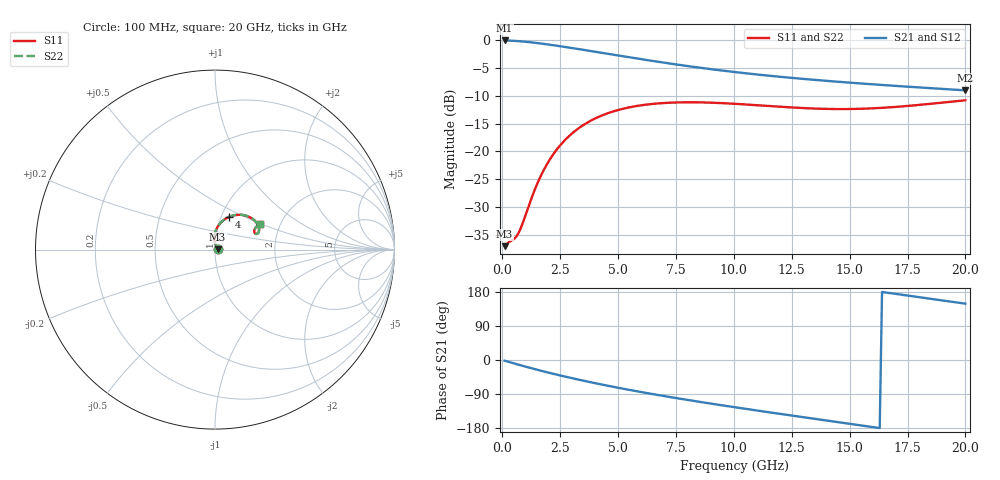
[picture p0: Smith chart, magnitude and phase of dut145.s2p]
! Touchstone file exported from HFSS 2024.1.0
!  File:  C:/UserFiles/LocalFiles/RDL_TSV_Batchsim/temp_RDL_TSV_145_1779430722.aedt
!  Generated:  02:34:35 PM May 22, 2026
!  Design:  RDL_TSV
!  Project:  temp_RDL_TSV_145_1779430722
!  Setup:  Setup1
!  Solution:  Sweep
! Variables:
!  dtsv = 12.21um
!  hbump = 3um
!  htsv = 59.25um
!  ldown = 586.97um
!  lrdl = 367.45um
!  p = 40
!  p1 = 44um
!  rhole = 10um
!  subl = 3230.71um
!  t = 450um
!  tdown = 4.99um
!  trdl = 4.87um
!  viad = 10um
!  wdown = 14.65um
!  wrdl = 21.82um
!  xbump = 18um
# GHz S MA R 50.000000
! Terminal data exported
! Port[1] = TM1_1_T1
! Port[2] = TM1_4_T1
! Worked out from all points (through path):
!   200 points, 100 MHz to 20 GHz, reference 50 ohm
!   highest |S21| = -0.13 dB at 100 MHz (marker M1); lowest = -9.1 dB at 20 GHz (marker M2)
!   group delay of S21, straight-line fit = 27.7 ps
!   lowest |S11| = -37.0 dB at 100 MHz (marker M3), VSWR 1.03, Z = 51.4 + j0.269 ohm
!   |S11| at or under -10 dB: start of sweep to end of sweep
!   |S22| runs from -37.0 to -10.8 dB; largest |S21 - S12| = 1.2e-14
!   S11 on the Smith chart (normalised r, x): 100 MHz: 1.03, +0.01; 4 GHz: 1.09, +0.41; 20 GHz: 1.58, +0.48
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0.1  0.01419 10.6  0.9856 -1.8  0.9856 -1.8  0.01419 10.6
! Gamma 0 0 0 0
! Port Impedance 50 0 50 0
0.5  0.0164 41.5  0.9778 -8.9  0.9778 -8.9  0.01639 41.6
0.7  0.01858 59.6  0.9717 -12.4  0.9717 -12.4  0.01858 59.6
0.9  0.02335 75.1  0.9641 -15.8  0.9641 -15.8  0.02336 75.2
1.3  0.04007 90.5  0.9456 -22.4  0.9456 -22.4  0.04012 90.6
1.5  0.05086 92.8  0.935 -25.6  0.935 -25.6  0.05094 92.9
1.8  0.06876 92.8  0.918 -30.3  0.918 -30.3  0.06887 92.9
2.1  0.08774 90.7  0.9 -34.9  0.9 -34.9  0.08789 90.8
2.7  0.126 83.8  0.8627 -43.6  0.8627 -43.6  0.1262 83.9
3.5  0.1723 73.4  0.8126 -54.6  0.8126 -54.6  0.1727 73.4
4  0.1969 67.1  0.7819 -61.0  0.7819 -61.0  0.1973 67.1
4.6  0.2215 60.0  0.7463 -68.5  0.7463 -68.5  0.2219 60.1
5.3  0.2435 52.6  0.7069 -76.8  0.7069 -76.8  0.244 52.7
6.8  0.2698 39.6  0.6319 -93.2  0.6319 -93.2  0.2705 39.7
8.4  0.2753 29.7  0.5666 -109.3  0.5666 -109.3  0.2761 29.8
10.1  0.2666 23.2  0.5122 -125.2  0.5122 -125.2  0.2675 23.3
11.7  0.2537 20.7  0.4723 -139.5  0.4723 -139.5  0.2546 20.7
13.4  0.2425 21.2  0.4388 -154.5  0.4388 -154.5  0.2435 21.2
15  0.2398 23.8  0.413 -168.3  0.413 -168.3  0.2408 23.8
16.7  0.248 27.1  0.3899 177.0  0.3899 177.0  0.249 27.0
18.3  0.2646 29.0  0.3707 163.2  0.3707 163.2  0.2655 29.0
20  0.2872 29.3  0.3524 148.6  0.3524 148.6  0.2882 29.3
